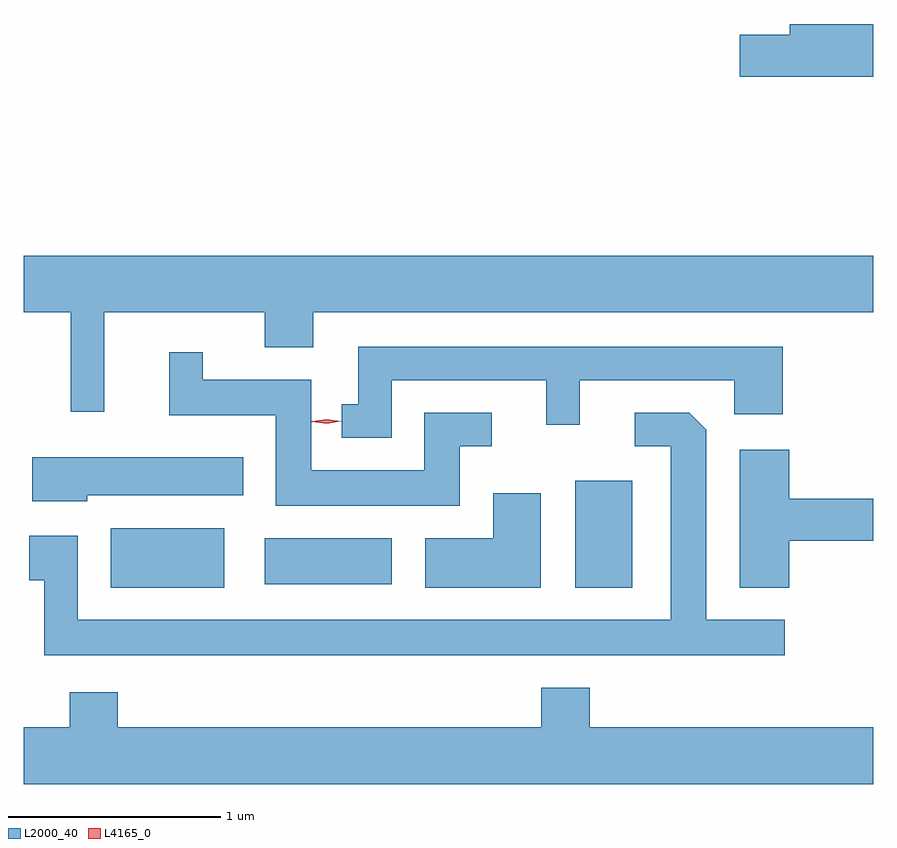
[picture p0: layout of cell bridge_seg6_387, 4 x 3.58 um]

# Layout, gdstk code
import gdstk
lib = gdstk.Library(unit=1e-6, precision=1e-09)
def R(c, l, rs):  # rectangles x0, y0, x1, y1
    for r in rs: c.add(gdstk.rectangle(r[:2], r[2:], *l))
def P(c, l, *ps):  # polygons
    for p in ps: c.add(gdstk.Polygon(p, *l))
L2000_40 = (2000, 40)
L4165_0 = (4165, 0)

bridge_seg6_387 = lib.new_cell('bridge_seg6_387')
R(bridge_seg6_387, L2000_40, [(856.846,1619.781,857.379,1620.059), (859.031,1619.781,859.299,1620.284), (857.571,1619.796,858.169,1620.014)])
P(bridge_seg6_387, L2000_40, [(860.434,1622.276),(860.435,1622.276),(860.435,1622.434),(860.041,1622.434),(860.041,1622.384),(859.806,1622.384),(859.806,1622.186),(860.434,1622.186)],
  [(856.814,1621.076),(857.571,1621.076),(857.571,1620.911),(857.799,1620.911),(857.799,1621.076),(860.435,1621.076),(860.435,1621.344),(856.435,1621.344),(856.435,1621.076),(856.656,1621.076),(856.656,1620.608),(856.814,1620.608)],
  [(858.169,1620.756),(858.896,1620.756),(858.896,1620.548),(859.054,1620.548),(859.054,1620.756),(859.781,1620.756),(859.781,1620.596),(860.009,1620.596),(860.009,1620.914),(858.011,1620.914),(858.011,1620.644),(857.933,1620.644),(857.933,1620.486),(858.169,1620.486)],
  [(858.489,1620.446),(858.638,1620.446),(858.638,1620.604),(858.321,1620.604),(858.321,1620.334),(857.789,1620.334),(857.789,1620.759),(857.279,1620.759),(857.279,1620.888),(857.121,1620.888),(857.121,1620.591),(857.621,1620.591),(857.621,1620.166),(858.489,1620.166)],
  [(860.018,1619.629),(859.649,1619.629),(859.649,1620.524),(859.569,1620.604),(859.313,1620.604),(859.313,1620.446),(859.481,1620.446),(859.481,1619.629),(856.689,1619.629),(856.689,1620.024),(856.461,1620.024),(856.461,1619.816),(856.531,1619.816),(856.531,1619.461),(860.018,1619.461)],
  [(860.039,1620.001),(860.434,1620.001),(860.434,1620.199),(860.039,1620.199),(860.039,1620.429),(859.806,1620.429),(859.806,1619.781),(860.039,1619.781)],
  [(856.734,1620.216),(857.469,1620.216),(857.469,1620.394),(856.476,1620.394),(856.476,1620.186),(856.734,1620.186)],
  [(858.869,1620.224),(858.646,1620.224),(858.646,1620.014),(858.326,1620.014),(858.326,1619.781),(858.869,1619.781)],
  [(860.435,1619.124),(859.099,1619.124),(859.099,1619.309),(858.871,1619.309),(858.871,1619.124),(856.879,1619.124),(856.879,1619.289),(856.651,1619.289),(856.651,1619.124),(856.435,1619.124),(856.435,1618.856),(860.435,1618.856)])
P(bridge_seg6_387, L4165_0, [(857.861,1620.553),(857.792,1620.562),(857.792,1620.563),(857.792,1620.563),(857.861,1620.573),(857.931,1620.564),(857.931,1620.564),(857.931,1620.563)])

lib.write_gds('bridge_seg6_387.gds')
